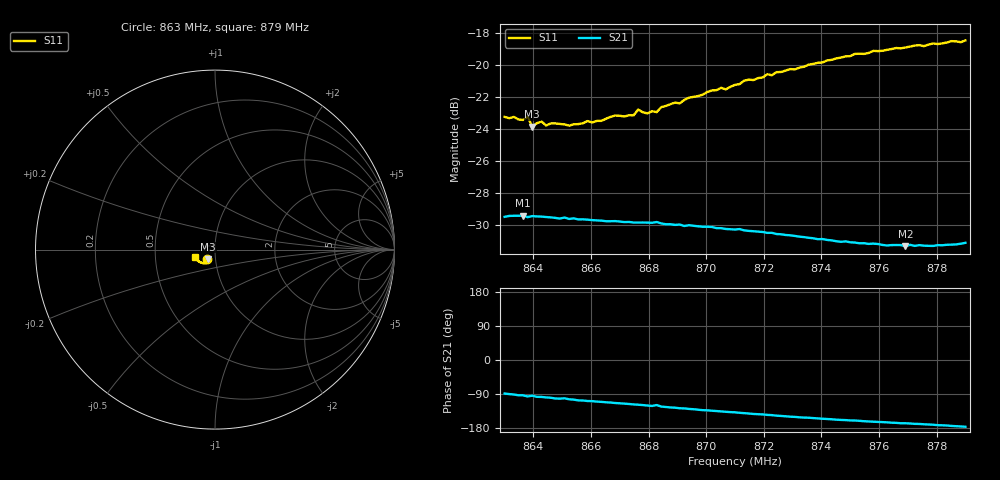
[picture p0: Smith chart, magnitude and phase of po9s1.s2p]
# HZ S RI R 50
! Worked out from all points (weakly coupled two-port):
!   101 points, 863 MHz to 879 MHz, reference 50 ohm
!   highest |S21| = -29.39 dB at 863.64 MHz (marker M1); lowest = -31.3 dB at 876.92 MHz (marker M2)
!   lowest |S11| = -23.8 dB at 863.96 MHz (marker M3), VSWR 1.14, Z = 46.1 - j4.76 ohm
!   |S11| at or under -10 dB: start of sweep to end of sweep
!   S12 and S22 are empty: the file has one direction only
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8.63e8  -0.0438 -0.0531  0.000859 -0.0336  0 0  0 0
8.6364e8  -0.0415 -0.0531  -0.0019 -0.0339  0 0  0 0
8.638e8  -0.0437 -0.0532  -0.00362 -0.0334  0 0  0 0
8.6396e8  -0.0384 -0.0515  -0.00248 -0.0337  0 0  0 0
8.6428e8  -0.0389 -0.0541  -0.00436 -0.0334  0 0  0 0
8.6444e8  -0.0383 -0.0522  -0.00511 -0.0332  0 0  0 0
8.6572e8  -0.0344 -0.0561  -0.00959 -0.0316  0 0  0 0
8.6636e8  -0.0342 -0.0575  -0.0115 -0.0307  0 0  0 0
8.6684e8  -0.0346 -0.0603  -0.013 -0.0299  0 0  0 0
8.6748e8  -0.0327 -0.0615  -0.0148 -0.0287  0 0  0 0
8.6764e8  -0.0355 -0.0633  -0.0151 -0.0285  0 0  0 0
8.6796e8  -0.0343 -0.0617  -0.0162 -0.0279  0 0  0 0
8.6828e8  -0.0303 -0.0645  -0.0157 -0.0284  0 0  0 0
8.6844e8  -0.0356 -0.0647  -0.0174 -0.0269  0 0  0 0
8.71e8  -0.0463 -0.0732  -0.0228 -0.0205  0 0  0 0
8.7212e8  -0.055 -0.0756  -0.0245 -0.0173  0 0  0 0
8.7228e8  -0.0544 -0.0751  -0.0247 -0.017  0 0  0 0
8.7372e8  -0.0664 -0.0757  -0.0258 -0.0129  0 0  0 0
8.7516e8  -0.0809 -0.0717  -0.0262 -0.00971  0 0  0 0
8.7644e8  -0.0915 -0.0646  -0.0266 -0.0069  0 0  0 0
8.7692e8  -0.0956 -0.0607  -0.0265 -0.00617  0 0  0 0
8.79e8  -0.1117 -0.0412  -0.0278 -0.00188  0 0  0 0
